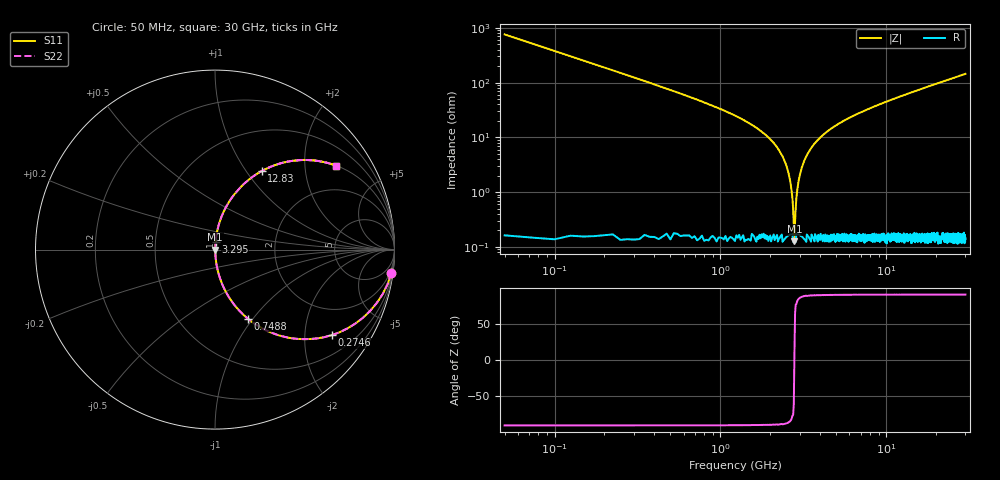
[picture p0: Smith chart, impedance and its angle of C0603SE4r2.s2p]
!	AVX Thin Film Operation 	Date: April 2014
!	Description: Accu-P® Series, Thin Film  SMD RF Capacitor
!	Part Number: 06031J4R2ABSTR
# MHZ S MA R 50
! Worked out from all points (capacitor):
!   1201 points, 50 MHz to 30 GHz, reference 50 ohm
!   read as one part in series: C = 4.2 pF near 199.8 MHz
!   lowest |Z| = 126 mohm at 2.795 GHz (marker M1)
!   series resonance near 2.793 GHz, so ESL is about 770 pH
!   S11 on the Smith chart (normalised r, x): 50 MHz: 1, -15; 274.6 MHz: 1.00, -2.73; 748.8 MHz: 1.00, -0.94; 3.295 GHz: 1.00, +0.09; 12.83 GHz: 1.00, +1.19; 30 GHz: 1.00, +2.89
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50  0.991 -7.5  0.131 82.5  0.131 82.5  0.991 -7.5
274.625  0.807 -36.2  0.59 53.8  0.59 53.8  0.807 -36.2
499.25  0.592 -53.6  0.805 36.3  0.805 36.3  0.592 -53.6
748.833  0.425 -64.7  0.904 25.1  0.904 25.1  0.425 -64.7
1272.958  0.229 -76.4  0.972 13.3  0.972 13.3  0.229 -76.4
2221.375  0.063 -85.1  0.997 3.6  0.997 3.6  0.063 -85.1
2495.917  0.031 -85.5  0.998 1.8  0.998 1.8  0.031 -85.5
2570.792  0.023 -85.0  0.998 1.3  0.998 1.3  0.023 -85.0
2695.583  0.009754 -80.7  0.998 0.6  0.998 0.6  0.009754 -80.7
2795.417  0.001493 8.2  0.999 -0.0  0.999 -0.0  0.001493 8.2
2895.25  0.009833 80.8  0.998 -0.6  0.998 -0.6  0.009833 80.8
3069.958  0.026 85.2  0.998 -1.5  0.998 -1.5  0.026 85.2
3294.583  0.045 85.5  0.998 -2.6  0.998 -2.6  0.045 85.5
3943.5  0.095 83.7  0.994 -5.4  0.994 -5.4  0.095 83.7
5041.667  0.167 79.9  0.984 -9.6  0.984 -9.6  0.167 79.9
7013.375  0.275 73.7  0.96 -16.0  0.96 -16.0  0.275 73.7
10058.29  0.411 65.6  0.911 -24.2  0.911 -24.2  0.411 65.6
12828.67  0.51 59.2  0.859 -30.7  0.859 -30.7  0.51 59.2
15025  0.575 54.8  0.817 -35.1  0.817 -35.1  0.575 54.8
20016.67  0.689 46.3  0.723 -43.6  0.723 -43.6  0.689 46.3
25033.29  0.768 39.8  0.64 -50.2  0.64 -50.2  0.768 39.8
30000  0.822 34.7  0.569 -55.3  0.569 -55.3  0.822 34.7
